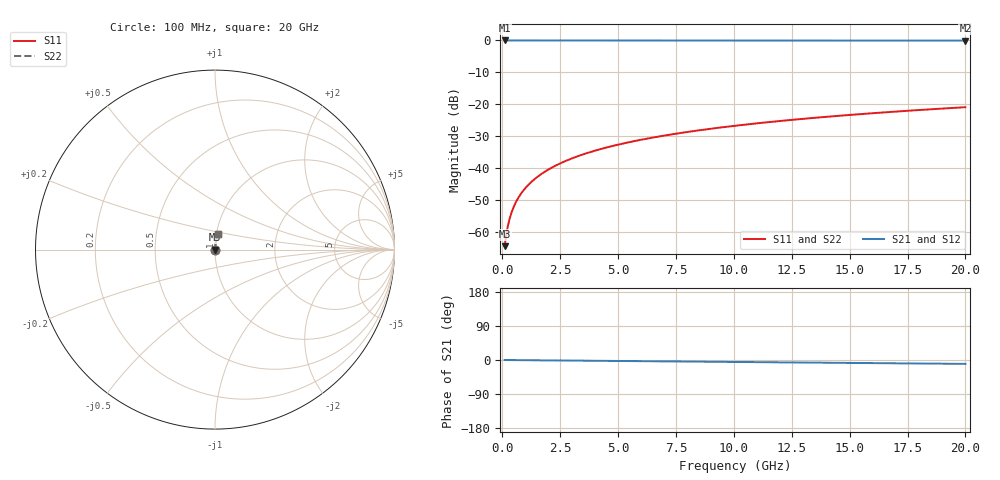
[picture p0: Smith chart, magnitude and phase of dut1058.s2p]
! Touchstone file exported from HFSS 2026.1.0
!  File:  C:/ffzhzh/LocalFiles/Ansys_Project_Files/temp_train_TSV_1058_1783189651_55132.aedt
!  Generated:  02:29:26 AM Jul  5, 2026
!  Design:  TSV
!  Project:  temp_train_TSV_1058_1783189651_55132
! Variables:
!  h_bsmrdl = 2um
!  h_ox = 20um
!  h_rdl = 5um
!  h_sub = 84.93um
!  h_tmrdl = 5um
!  h_tsv = 84.93um
!  h_via = 3um
!  l_bsmrdl = 300um
!  l_sub = 411.54um
!  l_tmrdl = 200um
!  m_sub = 200um
!  pitch = 52.88um
!  r_tsv = 5.77um
!  s_tmrdl = 10um
!  w_bsmrdl = 18um
!  w_sub = 500um
!  w_tmrdl = 12um
!  x_tsv_center1 = 206um
!  x_tsv_center2 = 524um
!  x_tsv_center3 = 736um
!  x_tsv_center4 = 1054um
!  x_tsv_center5 = 1266um
!  x_tsv_center6 = 1584um
# GHz S MA R 50.000000
! Terminal data exported
! Port[1] = TSV1_1_T1
! Port[2] = TSV1_1_T2
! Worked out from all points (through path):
!   200 points, 100 MHz to 20 GHz, reference 50 ohm
!   highest |S21| = 0.00 dB at 100 MHz (marker M1); lowest = -0.1 dB at 20 GHz (marker M2)
!   group delay of S21, straight-line fit = 1.42 ps
!   lowest |S11| = -64.6 dB at 100 MHz (marker M3), VSWR 1.00, Z = 50 + j0.0496 ohm
!   |S11| at or under -10 dB: start of sweep to end of sweep
!   |S22| runs from -64.6 to -20.9 dB; largest |S21 - S12| = 3.1e-15
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0.1  0.000592 56.8  0.9997 -0.1  0.9997 -0.1  0.000592 56.8
! Gamma 0 0 0 0
! Port Impedance 50 0 50 0
0.2  0.001044 71.3  0.9997 -0.1  0.9997 -0.1  0.001044 71.3
0.3  0.001521 76.7  0.9997 -0.2  0.9997 -0.2  0.001521 76.7
0.4  0.002002 79.4  0.9996 -0.2  0.9996 -0.2  0.002002 79.4
0.5  0.002481 80.9  0.9996 -0.3  0.9996 -0.3  0.002481 80.9
0.6  0.002959 81.9  0.9996 -0.3  0.9996 -0.3  0.002959 81.9
0.7  0.003433 82.6  0.9996 -0.4  0.9996 -0.4  0.003433 82.6
0.8  0.003905 83.1  0.9995 -0.4  0.9995 -0.4  0.003905 83.1
1  0.004843 83.8  0.9995 -0.5  0.9995 -0.5  0.004843 83.8
1.4  0.006703 84.6  0.9994 -0.7  0.9994 -0.7  0.006703 84.6
1.7  0.008091 84.9  0.9994 -0.9  0.9994 -0.9  0.008091 84.9
2  0.009475 85.1  0.9993 -1.1  0.9993 -1.1  0.009475 85.1
2.7  0.0127 85.3  0.9992 -1.4  0.9992 -1.4  0.0127 85.3
3.5  0.01636 85.3  0.999 -1.8  0.999 -1.8  0.01636 85.3
4.2  0.01955 85.2  0.9989 -2.2  0.9989 -2.2  0.01955 85.2
5  0.02318 84.9  0.9987 -2.6  0.9987 -2.6  0.02318 84.9
6.8  0.03129 84.3  0.9983 -3.5  0.9983 -3.5  0.03129 84.3
8.3  0.03802 83.8  0.998 -4.3  0.998 -4.3  0.03802 83.8
10.1  0.04607 83.0  0.9975 -5.2  0.9975 -5.2  0.04607 83.0
13.4  0.06074 81.6  0.9965 -6.9  0.9965 -6.9  0.06074 81.6
16.7  0.07529 80.1  0.9954 -8.6  0.9954 -8.6  0.07529 80.1
20  0.08968 78.5  0.994 -10.2  0.994 -10.2  0.08968 78.5
